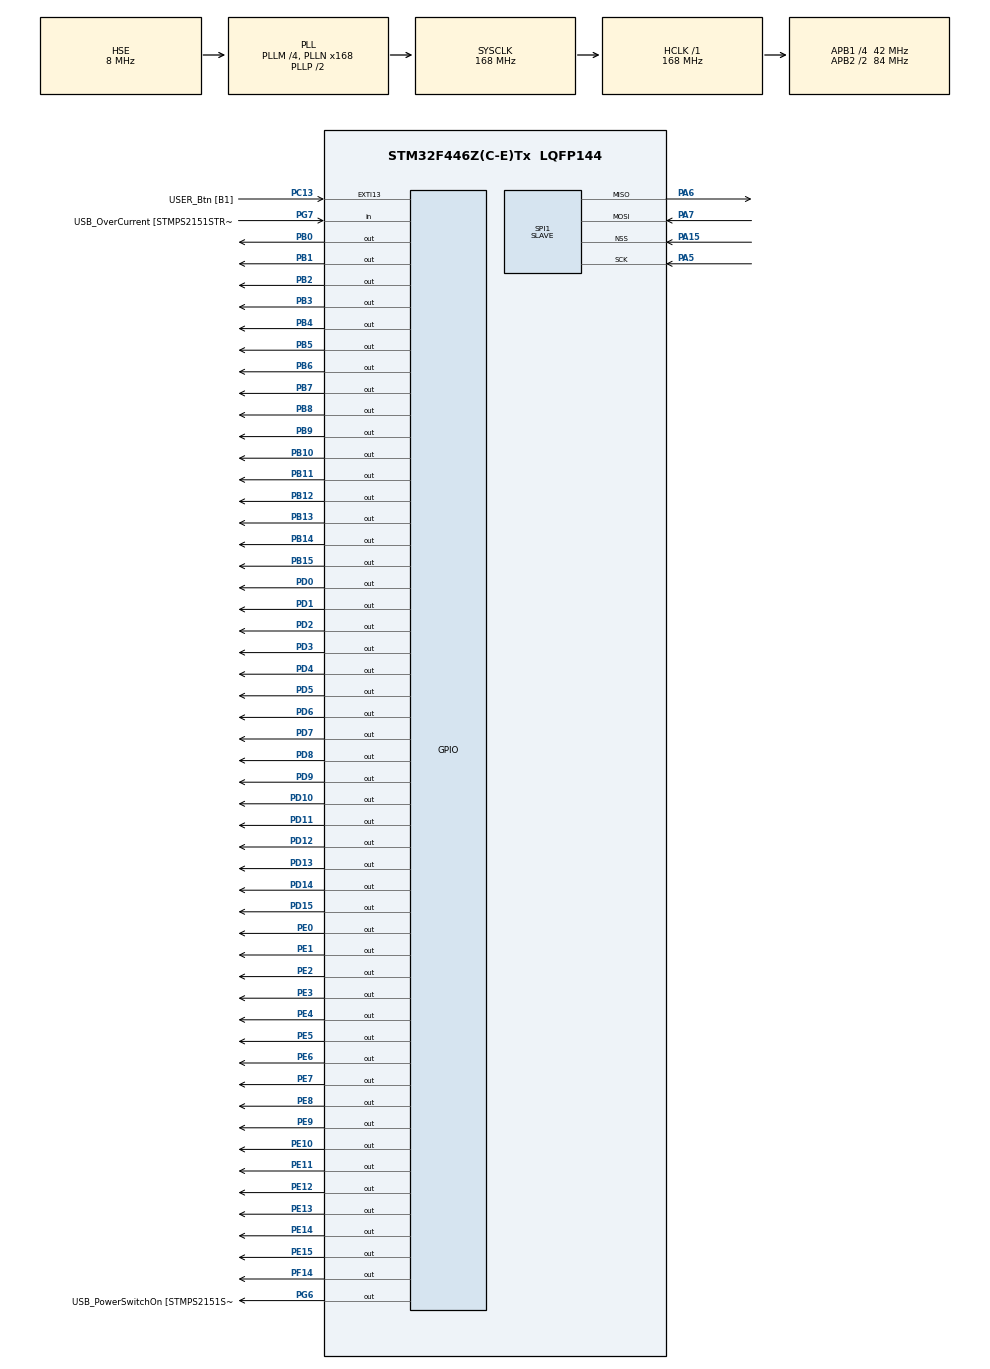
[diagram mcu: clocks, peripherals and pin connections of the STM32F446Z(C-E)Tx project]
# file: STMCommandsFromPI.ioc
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Mcu.Family=STM32F4
Mcu.Name=STM32F446Z(C-E)Tx
Mcu.Package=LQFP144
NVIC.PriorityGroup=NVIC_PRIORITYGROUP_4
NVIC.SPI1_IRQn=true\:0\:0\:false\:false\:true\:true\:true\:true
PA10.GPIO_Label=USB_ID
PA10.Signal=USB_OTG_FS_ID
PA11.GPIO_Label=USB_DM
PA11.Signal=USB_OTG_FS_DM
PA12.GPIO_Label=USB_DP
PA12.Signal=USB_OTG_FS_DP
PA13.GPIO_Label=TMS
PA13.Mode=Serial_Wire
PA13.Signal=SYS_JTMS-SWDIO
PA14.GPIO_Label=TCK
PA14.Mode=Serial_Wire
PA14.Signal=SYS_JTCK-SWCLK
PA15.Mode=NSS_Signal_Hard_Input
PA15.Signal=SPI1_NSS
PA5.Mode=Full_Duplex_Slave
PA5.Signal=SPI1_SCK
PA6.Mode=Full_Duplex_Slave
PA6.Signal=SPI1_MISO
PA7.Mode=Full_Duplex_Slave
PA7.Signal=SPI1_MOSI
PA8.GPIO_Label=USB_SOF [TP1]
PA8.Signal=USB_OTG_FS_SOF
PA9.GPIO_Label=USB_VBUS
PA9.Signal=USB_OTG_FS_VBUS
PB0.Signal=GPIO_Output
PB1.Signal=GPIO_Output
PB10.Signal=GPIO_Output
PB11.Signal=GPIO_Output
PB12.Signal=GPIO_Output
PB13.Signal=GPIO_Output
PB14.Signal=GPIO_Output
PB15.Signal=GPIO_Output
PB2.Signal=GPIO_Output
PB3.Signal=GPIO_Output
PB4.Signal=GPIO_Output
PB5.Signal=GPIO_Output
PB6.Signal=GPIO_Output
PB7.Signal=GPIO_Output
PB8.Signal=GPIO_Output
PB9.Signal=GPIO_Output
PC13.GPIO_Label=USER_Btn [B1]
PC13.Signal=GPXTI13
PC14-OSC32_IN.Mode=LSE-External-Oscillator
PC14-OSC32_IN.Signal=RCC_OSC32_IN
PC15-OSC32_OUT.Mode=LSE-External-Oscillator
PC15-OSC32_OUT.Signal=RCC_OSC32_OUT
PD0.Signal=GPIO_Output
PD1.Signal=GPIO_Output
PD10.Signal=GPIO_Output
PD11.Signal=GPIO_Output
PD12.Signal=GPIO_Output
PD13.Signal=GPIO_Output
PD14.Signal=GPIO_Output
PD15.Signal=GPIO_Output
PD2.Signal=GPIO_Output
PD3.Signal=GPIO_Output
PD4.Signal=GPIO_Output
PD5.Signal=GPIO_Output
PD6.Signal=GPIO_Output
PD7.Signal=GPIO_Output
PD8.Signal=GPIO_Output
PD9.Signal=GPIO_Output
PE0.Signal=GPIO_Output
PE1.Signal=GPIO_Output
PE10.Signal=GPIO_Output
PE11.Signal=GPIO_Output
PE12.Signal=GPIO_Output
PE13.Signal=GPIO_Output
PE14.Signal=GPIO_Output
PE15.Signal=GPIO_Output
PE2.Signal=GPIO_Output
PE3.Signal=GPIO_Output
PE4.Signal=GPIO_Output
PE5.Signal=GPIO_Output
PE6.Signal=GPIO_Output
PE7.Signal=GPIO_Output
PE8.Signal=GPIO_Output
PE9.Signal=GPIO_Output
PF14.Signal=GPIO_Output
PG6.GPIO_Label=USB_PowerSwitchOn [STMPS2151STR_EN]
PG6.Signal=GPIO_Output
PG7.GPIO_Label=USB_OverCurrent [STMPS2151STR_FAULT]
PG7.Signal=GPIO_Input
PH0-OSC_IN.GPIO_Label=MCO [STM32F103CBT6_PA8]
PH0-OSC_IN.Mode=HSE-External-Clock-Source
PH0-OSC_IN.Signal=RCC_OSC_IN
PH1-OSC_OUT.Mode=HSE-External-Clock-Source
PH1-OSC_OUT.Signal=RCC_OSC_OUT
ProjectManager.HeapSize=0x200
ProjectManager.StackSize=0x400
ProjectManager.TargetToolchain=STM32CubeIDE
RCC.48MHZClocksFreq_Value=24000000
RCC.AHBFreq_Value=168000000
RCC.APB1CLKDivider=RCC_HCLK_DIV4
RCC.APB1Freq_Value=42000000
RCC.APB1TimFreq_Value=84000000
RCC.APB2CLKDivider=RCC_HCLK_DIV2
RCC.APB2Freq_Value=84000000
RCC.APB2TimFreq_Value=168000000
RCC.CortexFreq_Value=168000000
RCC.HCLKFreq_Value=168000000
RCC.HSE_VALUE=8000000
RCC.HSI_VALUE=16000000
RCC.PLLM=4
RCC.PLLMUL=RCC_PLL_MUL9
RCC.PLLN=168
RCC.PLLQ=7
RCC.PLLSourceVirtual=RCC_PLLSOURCE_HSE
RCC.PRESCALERUSB=RCC_USBCLKSOURCE_PLL_DIV1_5
RCC.SYSCLKFreq_VALUE=168000000
RCC.SYSCLKSource=RCC_SYSCLKSOURCE_PLLCLK
RCC.SYSCLKSourceVirtual=RCC_SYSCLKSOURCE_PLLCLK
RCC.USBFreq_Value=48000000
RCC.VCOOutputFreq_Value=336000000
SPI1.DataSize=SPI_DATASIZE_16BIT
SPI1.Direction=SPI_DIRECTION_2LINES
SPI1.Mode=SPI_MODE_SLAVE
SPI1.VirtualNSS=VM_NSSHARD
SPI1.VirtualType=VM_SLAVE
board=NUCLEO-F446ZE

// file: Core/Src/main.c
/* USER CODE BEGIN Header */
/**
  ******************************************************************************
  * @file           : main.c
  * @brief          : Main program body
  ******************************************************************************
  * @attention
  *
  * Copyright (c) 2025 STMicroelectronics.
  * All rights reserved.
  *
  * This software is licensed under terms that can be found in the LICENSE file
  * in the root directory of this software component.
  * If no LICENSE file comes with this software, it is provided AS-IS.
  *
  ******************************************************************************
  */
/* USER CODE END Header */
#include "main.h"

SPI_HandleTypeDef hspi1;

/* USER CODE BEGIN PV */

// SPI receive buffer (one 16-bit frame at a time)
//static volatile uint16_t rx_word[3] = {0, 0, 0};

// Buffer to hold 3x 16-bit frames (48 channels total)
//static volatile uint16_t rx_buf[3] = {0, 0, 0};
//static volatile uint8_t  rx_idx = 0;            /* which frame we are filling: 0,1,2 */
//static volatile uint8_t  rx_group_ready = 0;    /* set to 1 when we have all 3 frames */

// Indicators for "code received"
//static volatile uint16_t rx_last_word = 0;
//static volatile uint32_t rx_count     = 0;  increments on each SPI frame */
//static volatile uint32_t rx_tick_ms   = 0;  time of last RX for LED pulse window */

#define SYNC_WORD   0xA5A5u
#define SEQ_PREFIX  0x5A00u   // top byte = 0x5A

static volatile uint16_t rx_w = 0;      // one 16-bit word at a time
static volatile uint16_t rx_buf[3] = {0,0,0};
static volatile uint8_t  rx_group_ready = 0;

static volatile uint8_t  rx_seq_last = 0;
static volatile uint32_t rx_packets_ok = 0;
static volatile uint32_t rx_packets_bad = 0;
static volatile uint32_t rx_resyncs = 0;

/* USER CODE END PV */

void SystemClock_Config(void);
static void MX_GPIO_Init(void);
static void MX_SPI1_Init(void);
/* USER CODE BEGIN PFP */
static void ApplyPattern48(uint16_t f0, uint16_t f1, uint16_t f2);
/* USER CODE END PFP */

/* USER CODE BEGIN 0 */
typedef enum {
    RX_WAIT_SYNC = 0,
    RX_WAIT_SEQ,
    RX_WAIT_F0,
    RX_WAIT_F1,
    RX_WAIT_F2
} rx_state_t;

static volatile rx_state_t rx_state = RX_WAIT_SYNC;
static volatile uint8_t rx_seq_cur = 0;
static volatile uint16_t f0_tmp = 0, f1_tmp = 0, f2_tmp = 0;

static void RX_ResetToSync(void)
{
    rx_state = RX_WAIT_SYNC;
}

static inline GPIO_PinState bit_to_state(uint16_t w, uint8_t bit)
{
    return (w & (1U << bit)) ? GPIO_PIN_SET : GPIO_PIN_RESET;

}

static void SPI_Rearm_1word(void)
{
    if (HAL_SPI_Receive_IT(&hspi1, (uint8_t*)&rx_w, 1) != HAL_OK)
    {
        rx_packets_bad++;   // counts re-arm failures
    }
}

/* Apply 3 frames in order:
 *  frame0 ; CH1-CH16 (bits 0..15)
 *  frame1 ;CH17-CH32 (bits 0..15)
 *  frame2 ; CH33-CH48 (bits 0..15)
 */
static void ApplyPattern48(uint16_t pattern1, uint16_t pattern2, uint16_t pattern3)
{
    /* FRAME 1 (pattern0): CH1-CH16 */

    HAL_GPIO_WritePin(GPIOD, GPIO_PIN_1,  bit_to_state(pattern1, 0));//CH1
    HAL_GPIO_WritePin(GPIOD, GPIO_PIN_2,  bit_to_state(pattern1, 1));//CH2
    HAL_GPIO_WritePin(GPIOD, GPIO_PIN_4,  bit_to_state(pattern1, 2));//CH3
    HAL_GPIO_WritePin(GPIOB, GPIO_PIN_10, bit_to_state(pattern1, 3));//CH4
    HAL_GPIO_WritePin(GPIOB, GPIO_PIN_12, bit_to_state(pattern1, 4));//CH5
    HAL_GPIO_WritePin(GPIOB, GPIO_PIN_13, bit_to_state(pattern1, 5));//CH6
    HAL_GPIO_WritePin(GPIOD, GPIO_PIN_3,  bit_to_state(pattern1, 6));//CH7
    HAL_GPIO_WritePin(GPIOD, GPIO_PIN_7,  bit_to_state(pattern1, 7));//CH8
    HAL_GPIO_WritePin(GPIOE, GPIO_PIN_15, bit_to_state(pattern1, 8));//CH9
    HAL_GPIO_WritePin(GPIOB, GPIO_PIN_14, bit_to_state(pattern1, 9));//CH10
    HAL_GPIO_WritePin(GPIOD, GPIO_PIN_8,  bit_to_state(pattern1, 10));//CH11
    HAL_GPIO_WritePin(GPIOB, GPIO_PIN_15, bit_to_state(pattern1, 11));//CH12
    HAL_GPIO_WritePin(GPIOB, GPIO_PIN_11, bit_to_state(pattern1, 12));//CH13
    HAL_GPIO_WritePin(GPIOD, GPIO_PIN_6,  bit_to_state(pattern1, 13));//CH14
    HAL_GPIO_WritePin(GPIOD, GPIO_PIN_5,  bit_to_state(pattern1, 14));//CH15
    HAL_GPIO_WritePin(GPIOD, GPIO_PIN_0,  bit_to_state(pattern1, 15));//CH16

    /*  FRAME 2 (pattern1): CH17-CH32 */

    HAL_GPIO_WritePin(GPIOD, GPIO_PIN_10, bit_to_state(pattern2, 0));//CH17
    HAL_GPIO_WritePin(GPIOD, GPIO_PIN_12, bit_to_state(pattern2, 1));//CH18
    HAL_GPIO_WritePin(GPIOD, GPIO_PIN_14, bit_to_state(pattern2, 2));//CH19
    HAL_GPIO_WritePin(GPIOE, GPIO_PIN_3,  bit_to_state(pattern2, 3));//CH20
    HAL_GPIO_WritePin(GPIOE, GPIO_PIN_5,  bit_to_state(pattern2, 4));//CH21
    HAL_GPIO_WritePin(GPIOE, GPIO_PIN_6,  bit_to_state(pattern2, 5));//CH22
    HAL_GPIO_WritePin(GPIOD, GPIO_PIN_11, bit_to_state(pattern2, 6));//CH23
    HAL_GPIO_WritePin(GPIOE, GPIO_PIN_1,  bit_to_state(pattern2, 7));//CH24
    HAL_GPIO_WritePin(GPIOE, GPIO_PIN_2,  bit_to_state(pattern2, 8));//CH25
    HAL_GPIO_WritePin(GPIOB, GPIO_PIN_0,  bit_to_state(pattern2, 9));//CH26
    HAL_GPIO_WritePin(GPIOB, GPIO_PIN_1,  bit_to_state(pattern2, 10));//CH27
    HAL_GPIO_WritePin(GPIOB, GPIO_PIN_2,  bit_to_state(pattern2, 11));//CH28
    HAL_GPIO_WritePin(GPIOE, GPIO_PIN_4,  bit_to_state(pattern2, 12));//CH29
    HAL_GPIO_WritePin(GPIOD, GPIO_PIN_15, bit_to_state(pattern2, 13));//CH30
    HAL_GPIO_WritePin(GPIOD, GPIO_PIN_13, bit_to_state(pattern2, 14));//CH31
    HAL_GPIO_WritePin(GPIOD, GPIO_PIN_9,  bit_to_state(pattern2, 15));//CH32

    /*  FRAME 3 (pattern2): CH33-CH48 */

    HAL_GPIO_WritePin(GPIOE, GPIO_PIN_8,  bit_to_state(pattern3, 0));//CH33
    HAL_GPIO_WritePin(GPIOE, GPIO_PIN_9,  bit_to_state(pattern3, 1));//CH34
    HAL_GPIO_WritePin(GPIOE, GPIO_PIN_11, bit_to_state(pattern3, 2));//CH35
    HAL_GPIO_WritePin(GPIOE, GPIO_PIN_13, bit_to_state(pattern3, 3));//CH36
    HAL_GPIO_WritePin(GPIOB, GPIO_PIN_6,  bit_to_state(pattern3, 4));//CH37
    HAL_GPIO_WritePin(GPIOB, GPIO_PIN_7,  bit_to_state(pattern3, 5));//CH38
    HAL_GPIO_WritePin(GPIOE, GPIO_PIN_10, bit_to_state(pattern3, 6));//CH39
    HAL_GPIO_WritePin(GPIOE, GPIO_PIN_14, bit_to_state(pattern3, 7));//CH40
    HAL_GPIO_WritePin(GPIOB, GPIO_PIN_3,  bit_to_state(pattern3, 8));//CH41
    HAL_GPIO_WritePin(GPIOB, GPIO_PIN_8,  bit_to_state(pattern3, 9));//CH42
    HAL_GPIO_WritePin(GPIOB, GPIO_PIN_9,  bit_to_state(pattern3, 10));//CH43
    HAL_GPIO_WritePin(GPIOE, GPIO_PIN_0,  bit_to_state(pattern3, 11));//CH44
    HAL_GPIO_WritePin(GPIOB, GPIO_PIN_5,  bit_to_state(pattern3, 12));//CH45
    HAL_GPIO_WritePin(GPIOB, GPIO_PIN_4,  bit_to_state(pattern3, 13));//CH46
    HAL_GPIO_WritePin(GPIOE, GPIO_PIN_12, bit_to_state(pattern3, 14));//CH47
    HAL_GPIO_WritePin(GPIOE, GPIO_PIN_7,  bit_to_state(pattern3, 15));//CH48

    //HAL_GPIO_WritePin(GPIOD, GPIO_PIN_7, (pattern & (1U << 1)) ? GPIO_PIN_SET : GPIO_PIN_RESET);
}

/* SPI Rx complete interrupt callback: runs after one 16-bit frame arrives */
/* SPI Rx complete interrupt callback: runs after one 16-bit frame arrives */
/*void HAL_SPI_RxCpltCallback(SPI_HandleTypeDef *hspi)
{
    if (hspi->Instance == SPI1)
    {
        // Copy the full 3-word group into a stable buffer
        rx_buf[0] = rx_word[0];
        rx_buf[1] = rx_word[1];
        rx_buf[2] = rx_word[2];

        rx_group_ready = 1;

        // Re-arm for the next 3-word group
        HAL_SPI_Receive_IT(&hspi1, (uint8_t*)rx_word, 3);
    }
}*/
void HAL_SPI_RxCpltCallback(SPI_HandleTypeDef *hspi)
{
    if (hspi->Instance != SPI1) return;

    uint16_t w = rx_w;

    switch (rx_state)
    {
        case RX_WAIT_SYNC:
            if (w == SYNC_WORD) {
                rx_state = RX_WAIT_SEQ;
            }
            break;

        case RX_WAIT_SEQ:
            if ((w & 0xFF00u) == SEQ_PREFIX) {
                rx_seq_cur = (uint8_t)(w & 0x00FFu);
                rx_state = RX_WAIT_F0;
            } else if (w == SYNC_WORD) {
                rx_resyncs++;
                rx_state = RX_WAIT_SEQ;
            } else {
                rx_packets_bad++;
                RX_ResetToSync();
            }
            break;

        case RX_WAIT_F0:
            if (w == SYNC_WORD) {
                rx_resyncs++;
                rx_state = RX_WAIT_SEQ;   // we already have sync, now wait for seq
                break;
            }
            f0_tmp = w;
            rx_state = RX_WAIT_F1;
            break;

        case RX_WAIT_F1:
            if (w == SYNC_WORD) {
                rx_resyncs++;
                rx_state = RX_WAIT_SEQ;
                break;
            }
            f1_tmp = w;
            rx_state = RX_WAIT_F2;
            break;

        case RX_WAIT_F2:
            if (w == SYNC_WORD) {
                rx_resyncs++;
                rx_state = RX_WAIT_SEQ;
                break;
            }
            f2_tmp = w;

            // publish
            rx_buf[0] = f0_tmp;
            rx_buf[1] = f1_tmp;
            rx_buf[2] = f2_tmp;
            rx_group_ready = 1;

            rx_seq_last = rx_seq_cur;
            rx_packets_ok++;

            RX_ResetToSync();
            break;

        default:
            RX_ResetToSync();
            break;
    }

    SPI_Rearm_1word();
}

//*  recover from SPI error */
//void HAL_SPI_ErrorCallback(SPI_HandleTypeDef *hspi)
/*{
    if (hspi->Instance == SPI1)
    {
        rx_group_ready = 0;

        // Clear OVR if it happened (STM32F4: read DR then SR)
        volatile uint32_t tmp;
        tmp = hspi->Instance->DR;
        tmp = hspi->Instance->SR;
        (void)tmp;

        // Re-arm for next 3-word group
        HAL_SPI_Receive_IT(&hspi1, (uint8_t*)rx_word, 3);
    }
}
*/
void HAL_SPI_ErrorCallback(SPI_HandleTypeDef *hspi)
{
    if (hspi->Instance != SPI1) return;

    rx_packets_bad++;
    RX_ResetToSync();

    // Clear OVR if needed
    volatile uint32_t tmp;
    tmp = hspi->Instance->DR;
    tmp = hspi->Instance->SR;
    (void)tmp;

    SPI_Rearm_1word();
}

/* USER CODE END 0 */

int main(void)
{

  /* MCU Configuration--------------------------------------------------------*/

  /* Reset of all peripherals, Initializes the Flash interface and the Systick. */
  HAL_Init();

  /* Configure the system clock */
  SystemClock_Config();

  /* Initialize all configured peripherals */
  MX_GPIO_Init();
  MX_SPI1_Init();
  /* USER CODE BEGIN 2 */
  /* Boot banner so you know firmware is running */
  //const char hello[] = "Boot OK: SPI1 slave listening (16-bit, mode 0)\r\n";
  //HAL_UART_Transmit(&huart3, (uint8_t*)hello, sizeof(hello)-1, 100);

  /* Start with outputs low and arm SPI interrupt for one 16-bit word */
  ApplyPattern48(0, 0, 0);
  //HAL_SPI_Receive_IT(&hspi1, (uint8_t *)rx_word, 3);
  SPI_Rearm_1word();

  /* Local shadow used to detect new RX events without disabling IRQs */
  uint32_t rx_count_seen = 0;

  /* USER CODE END 2 */

  /* Infinite loop */
  while (1)
  {

    /* USER CODE BEGIN 3 */

    /* If a full 3-frame group arrived, apply it once */
	  if (rx_group_ready)
	  {
	      __disable_irq();
	      uint16_t f0 = rx_buf[0];
	      uint16_t f1 = rx_buf[1];
	      uint16_t f2 = rx_buf[2];
	      rx_group_ready = 0;
	      __enable_irq();

	      ApplyPattern48(f0, f1, f2);
	  }

  }
  /* USER CODE END 3 */
}

void SystemClock_Config(void)
{
  RCC_OscInitTypeDef RCC_OscInitStruct = {0};
  RCC_ClkInitTypeDef RCC_ClkInitStruct = {0};

  /** Configure the main internal regulator output voltage
  */
  __HAL_RCC_PWR_CLK_ENABLE();
  __HAL_PWR_VOLTAGESCALING_CONFIG(PWR_REGULATOR_VOLTAGE_SCALE1);

  /** Initializes the RCC Oscillators according to the specified parameters
  * in the RCC_OscInitTypeDef structure.
  */
  RCC_OscInitStruct.OscillatorType = RCC_OSCILLATORTYPE_HSE;
  RCC_OscInitStruct.HSEState = RCC_HSE_BYPASS;
  RCC_OscInitStruct.PLL.PLLState = RCC_PLL_ON;
  RCC_OscInitStruct.PLL.PLLSource = RCC_PLLSOURCE_HSE;
  RCC_OscInitStruct.PLL.PLLM = 4;
  RCC_OscInitStruct.PLL.PLLN = 168;
  RCC_OscInitStruct.PLL.PLLP = RCC_PLLP_DIV2;
  RCC_OscInitStruct.PLL.PLLQ = 7;
  RCC_OscInitStruct.PLL.PLLR = 2;
  if (HAL_RCC_OscConfig(&RCC_OscInitStruct) != HAL_OK)
  {
    Error_Handler();
  }

  /** Initializes the CPU, AHB and APB buses clocks
  */
  RCC_ClkInitStruct.ClockType = RCC_CLOCKTYPE_HCLK|RCC_CLOCKTYPE_SYSCLK
                              |RCC_CLOCKTYPE_PCLK1|RCC_CLOCKTYPE_PCLK2;
  RCC_ClkInitStruct.SYSCLKSource = RCC_SYSCLKSOURCE_PLLCLK;
  RCC_ClkInitStruct.AHBCLKDivider = RCC_SYSCLK_DIV1;
  RCC_ClkInitStruct.APB1CLKDivider = RCC_HCLK_DIV4;
  RCC_ClkInitStruct.APB2CLKDivider = RCC_HCLK_DIV2;

  if (HAL_RCC_ClockConfig(&RCC_ClkInitStruct, FLASH_LATENCY_5) != HAL_OK)
  {
    Error_Handler();
  }
}

static void MX_SPI1_Init(void)
{

  /* SPI1 parameter configuration*/
  hspi1.Instance = SPI1;
  hspi1.Init.Mode = SPI_MODE_SLAVE;
  hspi1.Init.Direction = SPI_DIRECTION_2LINES;
  hspi1.Init.DataSize = SPI_DATASIZE_16BIT;
  hspi1.Init.CLKPolarity = SPI_POLARITY_LOW;
  hspi1.Init.CLKPhase = SPI_PHASE_1EDGE;
  hspi1.Init.NSS = SPI_NSS_HARD_INPUT;
  hspi1.Init.FirstBit = SPI_FIRSTBIT_MSB;
  hspi1.Init.TIMode = SPI_TIMODE_DISABLE;
  hspi1.Init.CRCCalculation = SPI_CRCCALCULATION_DISABLE;
  hspi1.Init.CRCPolynomial = 10;
  if (HAL_SPI_Init(&hspi1) != HAL_OK)
  {
    Error_Handler();
  }

}

static void MX_GPIO_Init(void)
{
  GPIO_InitTypeDef GPIO_InitStruct = {0};

  /* GPIO Ports Clock Enable */
  __HAL_RCC_GPIOE_CLK_ENABLE();
  __HAL_RCC_GPIOC_CLK_ENABLE();
  __HAL_RCC_GPIOH_CLK_ENABLE();
  __HAL_RCC_GPIOA_CLK_ENABLE();
  __HAL_RCC_GPIOB_CLK_ENABLE();
  __HAL_RCC_GPIOF_CLK_ENABLE();
  __HAL_RCC_GPIOD_CLK_ENABLE();
  __HAL_RCC_GPIOG_CLK_ENABLE();

  /*Configure GPIO pin Output Level */
  HAL_GPIO_WritePin(GPIOE, GPIO_PIN_2|GPIO_PIN_3|GPIO_PIN_4|GPIO_PIN_5
                          |GPIO_PIN_6|GPIO_PIN_7|GPIO_PIN_8|GPIO_PIN_9
                          |GPIO_PIN_10|GPIO_PIN_11|GPIO_PIN_12|GPIO_PIN_13
                          |GPIO_PIN_14|GPIO_PIN_15|GPIO_PIN_0|GPIO_PIN_1, GPIO_PIN_RESET);

  /*Configure GPIO pin Output Level */
  HAL_GPIO_WritePin(GPIOB, GPIO_PIN_0|GPIO_PIN_1|GPIO_PIN_2|GPIO_PIN_10
                          |GPIO_PIN_11|GPIO_PIN_12|GPIO_PIN_13|GPIO_PIN_14
                          |GPIO_PIN_15|GPIO_PIN_3|GPIO_PIN_4|GPIO_PIN_5
                          |GPIO_PIN_6|GPIO_PIN_7|GPIO_PIN_8|GPIO_PIN_9, GPIO_PIN_RESET);

  /*Configure GPIO pin Output Level */
  HAL_GPIO_WritePin(GPIOF, GPIO_PIN_14, GPIO_PIN_RESET);

  /*Configure GPIO pin Output Level */
  HAL_GPIO_WritePin(GPIOD, GPIO_PIN_8|GPIO_PIN_9|GPIO_PIN_10|GPIO_PIN_11
                          |GPIO_PIN_12|GPIO_PIN_13|GPIO_PIN_14|GPIO_PIN_15
                          |GPIO_PIN_0|GPIO_PIN_1|GPIO_PIN_2|GPIO_PIN_3
                          |GPIO_PIN_4|GPIO_PIN_5|GPIO_PIN_6|GPIO_PIN_7, GPIO_PIN_RESET);

  /*Configure GPIO pin Output Level */
  HAL_GPIO_WritePin(USB_PowerSwitchOn_GPIO_Port, USB_PowerSwitchOn_Pin, GPIO_PIN_RESET);

  /*Configure GPIO pins : PE2 PE3 PE4 PE5
                           PE6 PE7 PE8 PE9
                           PE10 PE11 PE12 PE13
                           PE14 PE15 PE0 PE1 */
  GPIO_InitStruct.Pin = GPIO_PIN_2|GPIO_PIN_3|GPIO_PIN_4|GPIO_PIN_5
                          |GPIO_PIN_6|GPIO_PIN_7|GPIO_PIN_8|GPIO_PIN_9
                          |GPIO_PIN_10|GPIO_PIN_11|GPIO_PIN_12|GPIO_PIN_13
                          |GPIO_PIN_14|GPIO_PIN_15|GPIO_PIN_0|GPIO_PIN_1;
  GPIO_InitStruct.Mode = GPIO_MODE_OUTPUT_PP;
  GPIO_InitStruct.Pull = GPIO_NOPULL;
  GPIO_InitStruct.Speed = GPIO_SPEED_FREQ_LOW;
  HAL_GPIO_Init(GPIOE, &GPIO_InitStruct);

  /*Configure GPIO pin : USER_Btn_Pin */
  GPIO_InitStruct.Pin = USER_Btn_Pin;
  GPIO_InitStruct.Mode = GPIO_MODE_IT_RISING;
  GPIO_InitStruct.Pull = GPIO_NOPULL;
  HAL_GPIO_Init(USER_Btn_GPIO_Port, &GPIO_InitStruct);

  /*Configure GPIO pins : PB0 PB1 PB2 PB10
                           PB11 PB12 PB13 PB14
                           PB15 PB3 PB4 PB5
                           PB6 PB7 PB8 PB9 */
  GPIO_InitStruct.Pin = GPIO_PIN_0|GPIO_PIN_1|GPIO_PIN_2|GPIO_PIN_10
                          |GPIO_PIN_11|GPIO_PIN_12|GPIO_PIN_13|GPIO_PIN_14
                          |GPIO_PIN_15|GPIO_PIN_3|GPIO_PIN_4|GPIO_PIN_5
                          |GPIO_PIN_6|GPIO_PIN_7|GPIO_PIN_8|GPIO_PIN_9;
  GPIO_InitStruct.Mode = GPIO_MODE_OUTPUT_PP;
  GPIO_InitStruct.Pull = GPIO_NOPULL;
  GPIO_InitStruct.Speed = GPIO_SPEED_FREQ_LOW;
  HAL_GPIO_Init(GPIOB, &GPIO_InitStruct);

  /*Configure GPIO pin : PF14 */
  GPIO_InitStruct.Pin = GPIO_PIN_14;
  GPIO_InitStruct.Mode = GPIO_MODE_OUTPUT_PP;
  GPIO_InitStruct.Pull = GPIO_NOPULL;
  GPIO_InitStruct.Speed = GPIO_SPEED_FREQ_LOW;
  HAL_GPIO_Init(GPIOF, &GPIO_InitStruct);

  /*Configure GPIO pins : PD8 PD9 PD10 PD11
                           PD12 PD13 PD14 PD15
                           PD0 PD1 PD2 PD3
                           PD4 PD5 PD6 PD7 */
  GPIO_InitStruct.Pin = GPIO_PIN_8|GPIO_PIN_9|GPIO_PIN_10|GPIO_PIN_11
                          |GPIO_PIN_12|GPIO_PIN_13|GPIO_PIN_14|GPIO_PIN_15
                          |GPIO_PIN_0|GPIO_PIN_1|GPIO_PIN_2|GPIO_PIN_3
                          |GPIO_PIN_4|GPIO_PIN_5|GPIO_PIN_6|GPIO_PIN_7;
  GPIO_InitStruct.Mode = GPIO_MODE_OUTPUT_PP;
  GPIO_InitStruct.Pull = GPIO_NOPULL;
  GPIO_InitStruct.Speed = GPIO_SPEED_FREQ_LOW;
  HAL_GPIO_Init(GPIOD, &GPIO_InitStruct);

  /*Configure GPIO pin : USB_PowerSwitchOn_Pin */
  GPIO_InitStruct.Pin = USB_PowerSwitchOn_Pin;
  GPIO_InitStruct.Mode = GPIO_MODE_OUTPUT_PP;
  GPIO_InitStruct.Pull = GPIO_NOPULL;
  GPIO_InitStruct.Speed = GPIO_SPEED_FREQ_LOW;
  HAL_GPIO_Init(USB_PowerSwitchOn_GPIO_Port, &GPIO_InitStruct);

  /*Configure GPIO pin : USB_OverCurrent_Pin */
  GPIO_InitStruct.Pin = USB_OverCurrent_Pin;
  GPIO_InitStruct.Mode = GPIO_MODE_INPUT;
  GPIO_InitStruct.Pull = GPIO_NOPULL;
  HAL_GPIO_Init(USB_OverCurrent_GPIO_Port, &GPIO_InitStruct);

  /*Configure GPIO pins : USB_SOF_Pin USB_ID_Pin USB_DM_Pin USB_DP_Pin */
  GPIO_InitStruct.Pin = USB_SOF_Pin|USB_ID_Pin|USB_DM_Pin|USB_DP_Pin;
  GPIO_InitStruct.Mode = GPIO_MODE_AF_PP;
  GPIO_InitStruct.Pull = GPIO_NOPULL;
  GPIO_InitStruct.Speed = GPIO_SPEED_FREQ_VERY_HIGH;
  GPIO_InitStruct.Alternate = GPIO_AF10_OTG_FS;
  HAL_GPIO_Init(GPIOA, &GPIO_InitStruct);

  /*Configure GPIO pin : USB_VBUS_Pin */
  GPIO_InitStruct.Pin = USB_VBUS_Pin;
  GPIO_InitStruct.Mode = GPIO_MODE_INPUT;
  GPIO_InitStruct.Pull = GPIO_NOPULL;
  HAL_GPIO_Init(USB_VBUS_GPIO_Port, &GPIO_InitStruct);

}

void Error_Handler(void)
{
  __disable_irq();
  while (1)
  {
  }
}
